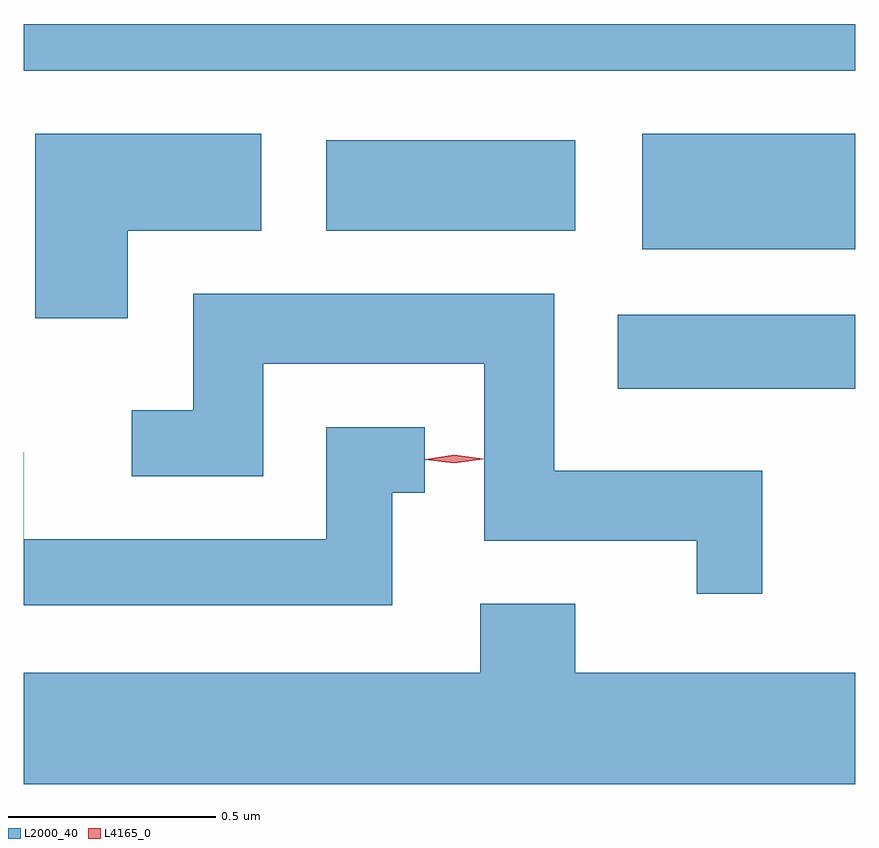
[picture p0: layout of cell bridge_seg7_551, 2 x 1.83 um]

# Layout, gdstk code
import gdstk
lib = gdstk.Library(unit=1e-6, precision=1e-09)
def R(c, l, rs):  # rectangles x0, y0, x1, y1
    for r in rs: c.add(gdstk.rectangle(r[:2], r[2:], *l))
def P(c, l, *ps):  # polygons
    for p in ps: c.add(gdstk.Polygon(p, *l))
L2000_40 = (2000, 40)
L4165_0 = (4165, 0)

bridge_seg7_551 = lib.new_cell('bridge_seg7_551')
R(bridge_seg7_551, L2000_40, [(903.841,1741.906,904.413,1742.084), (903.901,1742.241,904.413,1742.519), (903.141,1742.286,903.739,1742.504), (902.413,1742.671,904.413,1742.783)])
P(bridge_seg7_551, L2000_40, [(902.664,1742.286),(902.984,1742.286),(902.984,1742.519),(902.441,1742.519),(902.441,1742.076),(902.664,1742.076)],
  [(904.189,1741.709),(903.689,1741.709),(903.689,1742.134),(902.821,1742.134),(902.821,1741.854),(902.673,1741.854),(902.673,1741.696),(902.989,1741.696),(902.989,1741.966),(903.521,1741.966),(903.521,1741.541),(904.031,1741.541),(904.031,1741.413),(904.189,1741.413)],
  [(903.299,1741.656),(903.378,1741.656),(903.378,1741.814),(903.141,1741.814),(903.141,1741.544),(902.414,1741.544),(902.414,1741.753),(902.413,1741.753),(902.413,1741.386),(903.299,1741.386)],
  [(904.413,1741.224),(903.739,1741.224),(903.739,1741.389),(903.511,1741.389),(903.511,1741.224),(902.413,1741.224),(902.413,1740.956),(904.413,1740.956)])
P(bridge_seg7_551, L4165_0, [(903.448,1741.727),(903.379,1741.736),(903.379,1741.736),(903.379,1741.737),(903.448,1741.747),(903.518,1741.738),(903.518,1741.737),(903.518,1741.737)])

lib.write_gds('bridge_seg7_551.gds')
